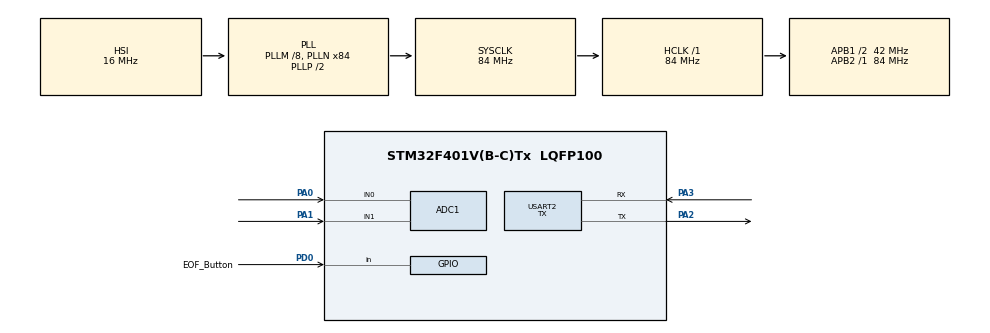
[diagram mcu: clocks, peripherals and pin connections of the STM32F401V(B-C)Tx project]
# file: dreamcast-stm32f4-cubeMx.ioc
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ADC1.Channel-0\#ChannelRegularConversion=ADC_CHANNEL_0
ADC1.Channel-1\#ChannelRegularConversion=ADC_CHANNEL_0
ADC1.ContinuousConvMode=ENABLE
ADC1.DiscontinuousConvMode=DISABLE
ADC1.InjNumberOfConversion=0
ADC1.NbrOfConversion=2
ADC1.NbrOfConversionFlag=1
ADC1.Rank-0\#ChannelRegularConversion=1
ADC1.Rank-1\#ChannelRegularConversion=2
ADC1.SamplingTime-0\#ChannelRegularConversion=ADC_SAMPLETIME_3CYCLES
ADC1.SamplingTime-1\#ChannelRegularConversion=ADC_SAMPLETIME_3CYCLES
ADC1.ScanConvMode=ENABLE
ADC1.master=1
Mcu.Family=STM32F4
Mcu.Name=STM32F401V(B-C)Tx
Mcu.Package=LQFP100
NVIC.PriorityGroup=NVIC_PRIORITYGROUP_0
NVIC.TIM1_UP_TIM10_IRQn=true\:0\:0\:false\:false\:true\:true\:true\:true
PA0-WKUP.Signal=ADCx_IN0
PA1.Signal=ADCx_IN1
PA2.Mode=Asynchronous
PA2.Signal=USART2_TX
PA3.Mode=Asynchronous
PA3.Signal=USART2_RX
PD0.GPIO_Label=EOF_Button
PD0.Signal=GPIO_Input
PH0\ -\ OSC_IN.Mode=HSE-External-Oscillator
PH0\ -\ OSC_IN.Signal=RCC_OSC_IN
PH1\ -\ OSC_OUT.Mode=HSE-External-Oscillator
PH1\ -\ OSC_OUT.Signal=RCC_OSC_OUT
ProjectManager.HeapSize=0x200
ProjectManager.StackSize=0x400
ProjectManager.TargetToolchain=Makefile
RCC.48MHZClocksFreq_Value=24000000
RCC.AHBFreq_Value=84000000
RCC.APB1CLKDivider=RCC_HCLK_DIV2
RCC.APB1Freq_Value=42000000
RCC.APB1TimFreq_Value=84000000
RCC.APB2Freq_Value=84000000
RCC.APB2TimFreq_Value=84000000
RCC.CortexFreq_Value=84000000
RCC.HCLKFreq_Value=84000000
RCC.HSE_VALUE=8000000
RCC.HSI_VALUE=16000000
RCC.LSE_VALUE=32768
RCC.PLLM=8
RCC.PLLN=84
RCC.PLLQ=7
RCC.SYSCLKFreq_VALUE=84000000
RCC.SYSCLKSource=RCC_SYSCLKSOURCE_PLLCLK
RCC.VCOOutputFreq_Value=168000000
SH.ADCx_IN0.0=ADC1_IN0,IN0
SH.ADCx_IN1.0=ADC1_IN1,IN1
TIM1.Period=0xffff
USART2.Mode=MODE_TX
USART2.VirtualMode=VM_ASYNC
VP_TIM1_VS_ClockSourceINT.Mode=Internal
board=STM32F401C-DISCO

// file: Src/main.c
/* USER CODE BEGIN Header */
/**
  ******************************************************************************
  * @file           : main.c
  * @brief          : Main program body
  ******************************************************************************
  * @attention
  *
  * Copyright (c) 2024 STMicroelectronics.
  * All rights reserved.
  *
  * This software is licensed under terms that can be found in the LICENSE file
  * in the root directory of this software component.
  * If no LICENSE file comes with this software, it is provided AS-IS.
  *
  ******************************************************************************
  */
/* USER CODE END Header */
#include "main.h"
#include "adc.h"
#include "tim.h"
#include "usart.h"
#include "gpio.h"

void SystemClock_Config(void);

int main(void)
{

  /* MCU Configuration--------------------------------------------------------*/

  /* Reset of all peripherals, Initializes the Flash interface and the Systick. */
  HAL_Init();

  /* Configure the system clock */
  SystemClock_Config();

  /* Initialize all configured peripherals */
  MX_GPIO_Init();
  MX_USART2_UART_Init();
  MX_ADC1_Init();
  MX_TIM1_Init();
  /* USER CODE BEGIN 2 */
  HAL_TIM_Base_Start_IT(&htim1);
  int16_t x_value;
  int16_t y_value;

  float x_standard_value = 0.00;
  float y_standard_value = 0.00;

  int16_t x_max_input = 0;
  int16_t x_min_input = 4095;
  int16_t y_max_input = 0;
  int16_t y_min_input = 4095;
  int16_t max_output = 1;
  int16_t min_output = -1;

  /* USER CODE END 2 */

  /* Infinite loop */
  /* USER CODE BEGIN WHILE */
  while (1)
  {

	x_value = read_adc_channel(0);
	y_value = read_adc_channel(1);

	if (x_value > x_max_input) {
		x_max_input = x_value;
	}
	if (x_value < x_min_input) {
		x_min_input = x_value;
	}
	if (y_value > y_max_input) {
		y_max_input = y_value;
	}
	if (y_value < y_min_input) {
		y_min_input = y_value;
	}

	x_standard_value = (((float) x_value - x_min_input) * (max_output - min_output))/(x_max_input - x_min_input) + min_output;
	y_standard_value = (((float) y_value - y_min_input) * (max_output - min_output))/(y_max_input - y_min_input) + min_output;

	if (HAL_GPIO_ReadPin(EOF_Button_GPIO_Port, EOF_Button_Pin) == GPIO_PIN_SET)
		printf("End of Transmission\r\n");
	else
		printf("%d,%.2f,%.2f\r\n", get_time_ms(), x_standard_value, y_standard_value);

	delay_ms(10);

    /* USER CODE END WHILE */

  }
}

void SystemClock_Config(void)
{
  RCC_OscInitTypeDef RCC_OscInitStruct = {0};
  RCC_ClkInitTypeDef RCC_ClkInitStruct = {0};

  /** Configure the main internal regulator output voltage
  */
  __HAL_RCC_PWR_CLK_ENABLE();
  __HAL_PWR_VOLTAGESCALING_CONFIG(PWR_REGULATOR_VOLTAGE_SCALE2);

  /** Initializes the RCC Oscillators according to the specified parameters
  * in the RCC_OscInitTypeDef structure.
  */
  RCC_OscInitStruct.OscillatorType = RCC_OSCILLATORTYPE_HSI;
  RCC_OscInitStruct.HSIState = RCC_HSI_ON;
  RCC_OscInitStruct.HSICalibrationValue = RCC_HSICALIBRATION_DEFAULT;
  RCC_OscInitStruct.PLL.PLLState = RCC_PLL_ON;
  RCC_OscInitStruct.PLL.PLLSource = RCC_PLLSOURCE_HSI;
  RCC_OscInitStruct.PLL.PLLM = 8;
  RCC_OscInitStruct.PLL.PLLN = 84;
  RCC_OscInitStruct.PLL.PLLP = RCC_PLLP_DIV2;
  RCC_OscInitStruct.PLL.PLLQ = 7;
  if (HAL_RCC_OscConfig(&RCC_OscInitStruct) != HAL_OK)
  {
    Error_Handler();
  }

  /** Initializes the CPU, AHB and APB buses clocks
  */
  RCC_ClkInitStruct.ClockType = RCC_CLOCKTYPE_HCLK|RCC_CLOCKTYPE_SYSCLK
                              |RCC_CLOCKTYPE_PCLK1|RCC_CLOCKTYPE_PCLK2;
  RCC_ClkInitStruct.SYSCLKSource = RCC_SYSCLKSOURCE_PLLCLK;
  RCC_ClkInitStruct.AHBCLKDivider = RCC_SYSCLK_DIV1;
  RCC_ClkInitStruct.APB1CLKDivider = RCC_HCLK_DIV2;
  RCC_ClkInitStruct.APB2CLKDivider = RCC_HCLK_DIV1;

  if (HAL_RCC_ClockConfig(&RCC_ClkInitStruct, FLASH_LATENCY_2) != HAL_OK)
  {
    Error_Handler();
  }
}

void Error_Handler(void)
{
  __disable_irq();
  while (1)
  {
  }
}
